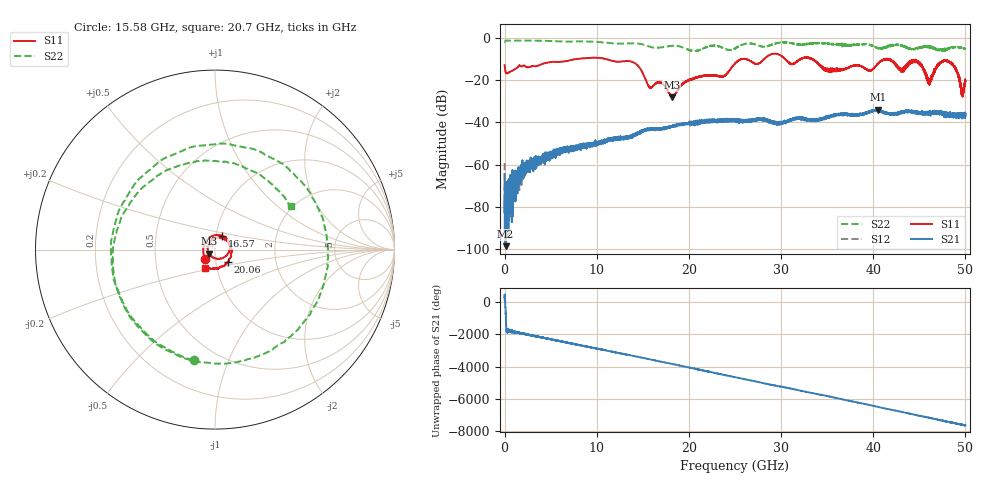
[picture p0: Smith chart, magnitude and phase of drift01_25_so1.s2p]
!Created with skrf (http://scikit-rf.org).
# Hz S RI R 50.0
!freq ReS11 ImS11 ReS21 ImS21 ReS12 ImS12 ReS22 ImS22
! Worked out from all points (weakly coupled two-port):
!   10001 points, 300 kHz to 50 GHz, reference 50 ohm
!   highest |S21| = -34.14 dB at 40.48 GHz (marker M1); lowest = -98.6 dB at 100.3 MHz (marker M2)
!   lowest |S11| = -28.2 dB at 18.14 GHz (marker M3), VSWR 1.08, Z = 46.9 - j2.2 ohm
!   |S11| at or under -10 dB: 10.89 GHz to 25.99 GHz (15.1 GHz wide, 81.9 % of centre); 33.28 GHz to 41.4 GHz (8.127 GHz wide, 21.8 % of centre); 41.58 GHz to end of sweep (the widest 3 of 14)
!   |S22| runs from -6.4 to -1.4 dB; largest |S21 - S12| = 0.0038
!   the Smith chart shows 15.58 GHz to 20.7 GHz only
!   S11 on the Smith chart (normalised r, x): 15.58 GHz: 0.89, -0.09; 16.57 GHz: 1.07, +0.16; 20.06 GHz: 1.14, -0.16; 20.7 GHz: 0.88, -0.18
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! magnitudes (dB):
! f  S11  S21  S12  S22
! 300 kHz  -13.1  -64.4  -59.3  -2.1
! 100.3 MHz  -16.3  -98.6  -81.1  -1.5
! 275.3 MHz  -16.9  -76.8  -74.5  -1.4
! 2.995 GHz  -13.5  -58.1  -60.6  -1.4
! 8.335 GHz  -9.9  -52.4  -51.8  -1.8
! 13.87 GHz  -11.5  -46.4  -46.2  -2.7
! 15.58 GHz  -22.6  -43.8  -43.5  -4.0
! 16.57 GHz  -21.3  -43.2  -43.0  -4.8
! 16.67 GHz  -21.1  -43.2  -43.4  -4.8
! 18.14 GHz  -28.2  -41.9  -41.8  -3.9
! 20.06 GHz  -20.0  -40.9  -40.4  -5.9
! 20.7 GHz  -18.9  -39.9  -40.1  -6.3
! 25 GHz  -12.2  -38.8  -39.1  -5.1
! 33.34 GHz  -10.2  -38.8  -38.9  -2.7
! 35.14 GHz  -15.9  -37.9  -37.4  -2.8
! 40.48 GHz  -12.5  -34.1  -34.3  -4.9
! 41.67 GHz  -10.4  -35.7  -36.0  -3.9
! 44.82 GHz  -11.4  -35.6  -35.6  -5.0
! 46.1 GHz  -21.0  -35.9  -35.8  -4.3
! 48.04 GHz  -11.2  -37.2  -36.2  -5.2
! 49.64 GHz  -25.2  -36.4  -36.5  -4.8
! 50 GHz  -20.8  -36.0  -37.2  -5.4
